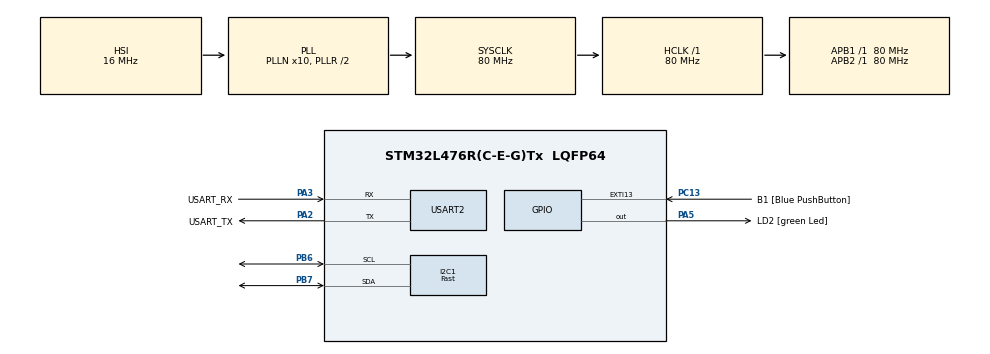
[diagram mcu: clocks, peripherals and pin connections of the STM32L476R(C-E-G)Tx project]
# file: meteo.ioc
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FREERTOS.Tasks01=defaultTask,0,128,StartDefaultTask,Default,NULL
FREERTOS.configTOTAL_HEAP_SIZE=8000
FREERTOS.configUSE_TIMERS=1
I2C1.I2C_Speed_Mode=I2C_Fast
I2C1.Timing=0x00702991
Mcu.Family=STM32L4
Mcu.Name=STM32L476R(C-E-G)Tx
Mcu.Package=LQFP64
NVIC.PriorityGroup=NVIC_PRIORITYGROUP_4
NVIC.TIM1_UP_TIM16_IRQn=true\:0\:0\:false\:false\:true\:false\:false
NVIC.TimeBase=TIM1_UP_TIM16_IRQn
NVIC.TimeBaseIP=TIM1
PA13\ (JTMS-SWDIO).GPIO_Label=TMS
PA13\ (JTMS-SWDIO).Signal=SYS_JTMS-SWDIO
PA14\ (JTCK-SWCLK).GPIO_Label=TCK
PA14\ (JTCK-SWCLK).Signal=SYS_JTCK-SWCLK
PA2.GPIO_Label=USART_TX
PA2.GPIO_Mode=GPIO_MODE_AF_PP
PA2.GPIO_PuPd=GPIO_NOPULL
PA2.GPIO_Speed=GPIO_SPEED_FREQ_VERY_HIGH
PA2.Mode=Asynchronous
PA2.Signal=USART2_TX
PA3.GPIO_Label=USART_RX
PA3.GPIO_Mode=GPIO_MODE_AF_PP
PA3.GPIO_PuPd=GPIO_NOPULL
PA3.GPIO_Speed=GPIO_SPEED_FREQ_VERY_HIGH
PA3.Mode=Asynchronous
PA3.Signal=USART2_RX
PA5.GPIO_Label=LD2 [green Led]
PA5.GPIO_ModeDefaultOutputPP=GPIO_MODE_OUTPUT_PP
PA5.GPIO_PuPd=GPIO_NOPULL
PA5.GPIO_Speed=GPIO_SPEED_FREQ_LOW
PA5.Signal=GPIO_Output
PB3\ (JTDO-TRACESWO).GPIO_Label=SWO
PB3\ (JTDO-TRACESWO).Signal=SYS_JTDO-SWO
PB6.Mode=I2C
PB6.Signal=I2C1_SCL
PB7.Mode=I2C
PB7.Signal=I2C1_SDA
PC13.GPIO_Label=B1 [Blue PushButton]
PC13.GPIO_ModeDefaultEXTI=GPIO_MODE_IT_FALLING
PC13.GPIO_PuPd=GPIO_NOPULL
PC13.Signal=GPXTI13
PC14-OSC32_IN\ (PC14).Signal=RCC_OSC32_IN
PC15-OSC32_OUT\ (PC15).Signal=RCC_OSC32_OUT
PH0-OSC_IN\ (PH0).Signal=RCC_OSC_IN
PH1-OSC_OUT\ (PH1).Signal=RCC_OSC_OUT
ProjectManager.HeapSize=0x200
ProjectManager.StackSize=0x400
ProjectManager.TargetToolchain=SW4STM32
RCC.ADCFreq_Value=64000000
RCC.AHBFreq_Value=80000000
RCC.APB1Freq_Value=80000000
RCC.APB1TimFreq_Value=80000000
RCC.APB2Freq_Value=80000000
RCC.APB2TimFreq_Value=80000000
RCC.CortexFreq_Value=80000000
RCC.HCLKFreq_Value=80000000
RCC.HSE_VALUE=8000000
RCC.HSI_VALUE=16000000
RCC.LSE_VALUE=32768
RCC.MSI_VALUE=4000000
RCC.PLLN=10
RCC.PLLSourceVirtual=RCC_PLLSOURCE_HSI
RCC.PREFETCH_ENABLE=1
RCC.SYSCLKFreq_VALUE=80000000
RCC.SYSCLKSource=RCC_SYSCLKSOURCE_PLLCLK
RCC.USBFreq_Value=64000000
RCC.VCOOutputFreq_Value=160000000
USART2.VirtualMode-Asynchronous=VM_ASYNC
USART2.WordLength=WORDLENGTH_8B
VP_FREERTOS_VS_ENABLE.Mode=Enabled
VP_SYS_VS_tim1.Mode=TIM1
board=NUCLEO-L476RG

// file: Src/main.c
/**
  ******************************************************************************
  * File Name          : main.c
  * Description        : Main program body
  ******************************************************************************
  * This notice applies to any and all portions of this file
  * that are not between comment pairs USER CODE BEGIN and
  * USER CODE END. Other portions of this file, whether
  * inserted by the user or by software development tools
  * are owned by their respective copyright owners.
  *
  * Copyright (c) 2017 STMicroelectronics International N.V.
  * All rights reserved.
  *
  * Redistribution and use in source and binary forms, with or without
  * modification, are permitted, provided that the following conditions are met:
  *
  * 1. Redistribution of source code must retain the above copyright notice,
  *    this list of conditions and the following disclaimer.
  * 2. Redistributions in binary form must reproduce the above copyright notice,
  *    this list of conditions and the following disclaimer in the documentation
  *    and/or other materials provided with the distribution.
  * 3. Neither the name of STMicroelectronics nor the names of other
  *    contributors to this software may be used to endorse or promote products
  *    derived from this software without specific written permission.
  * 4. This software, including modifications and/or derivative works of this
  *    software, must execute solely and exclusively on microcontroller or
  *    microprocessor devices manufactured by or for STMicroelectronics.
  * 5. Redistribution and use of this software other than as permitted under
  *    this license is void and will automatically terminate your rights under
  *    this license.
  *
  * THIS SOFTWARE IS PROVIDED BY STMICROELECTRONICS AND CONTRIBUTORS "AS IS"
  * AND ANY EXPRESS, IMPLIED OR STATUTORY WARRANTIES, INCLUDING, BUT NOT
  * LIMITED TO, THE IMPLIED WARRANTIES OF MERCHANTABILITY, FITNESS FOR A
  * PARTICULAR PURPOSE AND NON-INFRINGEMENT OF THIRD PARTY INTELLECTUAL PROPERTY
  * RIGHTS ARE DISCLAIMED TO THE FULLEST EXTENT PERMITTED BY LAW. IN NO EVENT
  * SHALL STMICROELECTRONICS OR CONTRIBUTORS BE LIABLE FOR ANY DIRECT, INDIRECT,
  * INCIDENTAL, SPECIAL, EXEMPLARY, OR CONSEQUENTIAL DAMAGES (INCLUDING, BUT NOT
  * LIMITED TO, PROCUREMENT OF SUBSTITUTE GOODS OR SERVICES; LOSS OF USE, DATA,
  * OR PROFITS; OR BUSINESS INTERRUPTION) HOWEVER CAUSED AND ON ANY THEORY OF
  * LIABILITY, WHETHER IN CONTRACT, STRICT LIABILITY, OR TORT (INCLUDING
  * NEGLIGENCE OR OTHERWISE) ARISING IN ANY WAY OUT OF THE USE OF THIS SOFTWARE,
  * EVEN IF ADVISED OF THE POSSIBILITY OF SUCH DAMAGE.
  *
  ******************************************************************************
  */
#include "main.h"
#include "stm32l4xx_hal.h"
#include "cmsis_os.h"
#include "i2c.h"
#include "usart.h"
#include "gpio.h"

/* USER CODE BEGIN PV */
/* Private variables ---------------------------------------------------------*/
#define MAX_BUF_SIZE 256

typedef struct displayFloatToInt_s {
  int8_t sign; /* 0 means positive, 1 means negative*/
  uint32_t  out_int;
  uint32_t  out_dec;
} displayFloatToInt_t;
static char dataOut[MAX_BUF_SIZE];

static void *HTS221_H_0_handle  = NULL;
static void *HTS221_T_0_handle  = NULL;
static void *LPS22HB_P_0_handle  = NULL;
static void *LPS22HB_T_0_handle  = NULL;
/* USER CODE END PV */

void SystemClock_Config(void);
void MX_FREERTOS_Init(void);

static void initializeAllSensors( void );
static void floatToInt(float in, displayFloatToInt_t *out_value, int32_t dec_prec);
static void RTC_Handler( void );
static void Humidity_Sensor_Handler( void *handle );
static void Temperature_Sensor_Handler( void *handle );
static void Pressure_Sensor_Handler( void *handle );

/* USER CODE BEGIN PFP */
/* Private function prototypes -----------------------------------------------*/

static void initializeAllSensors( void );

static void floatToInt(float in, displayFloatToInt_t *out_value, int32_t dec_prec);

static void Humidity_Sensor_Handler( void *handle );
static void Temperature_Sensor_Handler( void *handle );
static void Pressure_Sensor_Handler( void *handle );
/* USER CODE END PFP */

int main(void)
{

  /* MCU Configuration----------------------------------------------------------*/

  /* Reset of all peripherals, Initializes the Flash interface and the Systick. */
  HAL_Init();

  /* Configure the system clock */
  SystemClock_Config();

  /* Initialize all configured peripherals */
  MX_GPIO_Init();
  MX_I2C1_Init();
  MX_USART2_UART_Init();

  /* Call init function for freertos objects (in freertos.c) */
  MX_FREERTOS_Init();

  /* Start scheduler */
  osKernelStart();

  /* We should never get here as control is now taken by the scheduler */

  /* Infinite loop */
  while (1)
  {

  /* USER CODE BEGIN 3 */

  }
  RTC_Handler();
  Humidity_Sensor_Handler( HTS221_H_0_handle );
  Temperature_Sensor_Handler( HTS221_T_0_handle );
  Temperature_Sensor_Handler( LPS22HB_T_0_handle );
  Pressure_Sensor_Handler( LPS22HB_P_0_handle );
  /* USER CODE END 3 */

}

/** System Clock Configuration
*/
void SystemClock_Config(void)
{

  RCC_OscInitTypeDef RCC_OscInitStruct;
  RCC_ClkInitTypeDef RCC_ClkInitStruct;
  RCC_PeriphCLKInitTypeDef PeriphClkInit;

    /**Initializes the CPU, AHB and APB busses clocks
    */
  RCC_OscInitStruct.OscillatorType = RCC_OSCILLATORTYPE_HSI;
  RCC_OscInitStruct.HSIState = RCC_HSI_ON;
  RCC_OscInitStruct.HSICalibrationValue = 16;
  RCC_OscInitStruct.PLL.PLLState = RCC_PLL_ON;
  RCC_OscInitStruct.PLL.PLLSource = RCC_PLLSOURCE_HSI;
  RCC_OscInitStruct.PLL.PLLN = 10;
  RCC_OscInitStruct.PLL.PLLP = RCC_PLLP_DIV7;
  RCC_OscInitStruct.PLL.PLLQ = RCC_PLLQ_DIV2;
  RCC_OscInitStruct.PLL.PLLR = RCC_PLLR_DIV2;
  if (HAL_RCC_OscConfig(&RCC_OscInitStruct) != HAL_OK)
  {
    _Error_Handler(__FILE__, __LINE__);
  }

    /**Initializes the CPU, AHB and APB busses clocks
    */
  RCC_ClkInitStruct.ClockType = RCC_CLOCKTYPE_HCLK|RCC_CLOCKTYPE_SYSCLK
                              |RCC_CLOCKTYPE_PCLK1|RCC_CLOCKTYPE_PCLK2;
  RCC_ClkInitStruct.SYSCLKSource = RCC_SYSCLKSOURCE_PLLCLK;
  RCC_ClkInitStruct.AHBCLKDivider = RCC_SYSCLK_DIV1;
  RCC_ClkInitStruct.APB1CLKDivider = RCC_HCLK_DIV1;
  RCC_ClkInitStruct.APB2CLKDivider = RCC_HCLK_DIV1;

  if (HAL_RCC_ClockConfig(&RCC_ClkInitStruct, FLASH_LATENCY_3) != HAL_OK)
  {
    _Error_Handler(__FILE__, __LINE__);
  }

  PeriphClkInit.PeriphClockSelection = RCC_PERIPHCLK_USART2|RCC_PERIPHCLK_I2C1;
  PeriphClkInit.Usart2ClockSelection = RCC_USART2CLKSOURCE_PCLK1;
  PeriphClkInit.I2c1ClockSelection = RCC_I2C1CLKSOURCE_PCLK1;
  if (HAL_RCCEx_PeriphCLKConfig(&PeriphClkInit) != HAL_OK)
  {
    _Error_Handler(__FILE__, __LINE__);
  }

    /**Configure the main internal regulator output voltage
    */
  if (HAL_PWREx_ControlVoltageScaling(PWR_REGULATOR_VOLTAGE_SCALE1) != HAL_OK)
  {
    _Error_Handler(__FILE__, __LINE__);
  }

    /**Configure the Systick interrupt time
    */
  HAL_SYSTICK_Config(HAL_RCC_GetHCLKFreq()/1000);

    /**Configure the Systick
    */
  HAL_SYSTICK_CLKSourceConfig(SYSTICK_CLKSOURCE_HCLK);

  /* SysTick_IRQn interrupt configuration */
  HAL_NVIC_SetPriority(SysTick_IRQn, 15, 0);
}

void HAL_TIM_PeriodElapsedCallback(TIM_HandleTypeDef *htim)
{
  if (htim->Instance == TIM1) {
    HAL_IncTick();
  }
}

void _Error_Handler(char * file, int line)
{
  while(1)
  {
  }
}

/************************ (C) COPYRIGHT STMicroelectronics *****END OF FILE****/

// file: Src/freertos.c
/**
  ******************************************************************************
  * File Name          : freertos.c
  * Description        : Code for freertos applications
  ******************************************************************************
  * This notice applies to any and all portions of this file
  * that are not between comment pairs USER CODE BEGIN and
  * USER CODE END. Other portions of this file, whether
  * inserted by the user or by software development tools
  * are owned by their respective copyright owners.
  *
  * Copyright (c) 2017 STMicroelectronics International N.V.
  * All rights reserved.
  *
  * Redistribution and use in source and binary forms, with or without
  * modification, are permitted, provided that the following conditions are met:
  *
  * 1. Redistribution of source code must retain the above copyright notice,
  *    this list of conditions and the following disclaimer.
  * 2. Redistributions in binary form must reproduce the above copyright notice,
  *    this list of conditions and the following disclaimer in the documentation
  *    and/or other materials provided with the distribution.
  * 3. Neither the name of STMicroelectronics nor the names of other
  *    contributors to this software may be used to endorse or promote products
  *    derived from this software without specific written permission.
  * 4. This software, including modifications and/or derivative works of this
  *    software, must execute solely and exclusively on microcontroller or
  *    microprocessor devices manufactured by or for STMicroelectronics.
  * 5. Redistribution and use of this software other than as permitted under
  *    this license is void and will automatically terminate your rights under
  *    this license.
  *
  * THIS SOFTWARE IS PROVIDED BY STMICROELECTRONICS AND CONTRIBUTORS "AS IS"
  * AND ANY EXPRESS, IMPLIED OR STATUTORY WARRANTIES, INCLUDING, BUT NOT
  * LIMITED TO, THE IMPLIED WARRANTIES OF MERCHANTABILITY, FITNESS FOR A
  * PARTICULAR PURPOSE AND NON-INFRINGEMENT OF THIRD PARTY INTELLECTUAL PROPERTY
  * RIGHTS ARE DISCLAIMED TO THE FULLEST EXTENT PERMITTED BY LAW. IN NO EVENT
  * SHALL STMICROELECTRONICS OR CONTRIBUTORS BE LIABLE FOR ANY DIRECT, INDIRECT,
  * INCIDENTAL, SPECIAL, EXEMPLARY, OR CONSEQUENTIAL DAMAGES (INCLUDING, BUT NOT
  * LIMITED TO, PROCUREMENT OF SUBSTITUTE GOODS OR SERVICES; LOSS OF USE, DATA,
  * OR PROFITS; OR BUSINESS INTERRUPTION) HOWEVER CAUSED AND ON ANY THEORY OF
  * LIABILITY, WHETHER IN CONTRACT, STRICT LIABILITY, OR TORT (INCLUDING
  * NEGLIGENCE OR OTHERWISE) ARISING IN ANY WAY OUT OF THE USE OF THIS SOFTWARE,
  * EVEN IF ADVISED OF THE POSSIBILITY OF SUCH DAMAGE.
  *
  ******************************************************************************
  */

#include "FreeRTOS.h"
#include "task.h"
#include "cmsis_os.h"

osThreadId defaultTaskHandle;

void StartDefaultTask(void const * argument);

void MX_FREERTOS_Init(void); /* (MISRA C 2004 rule 8.1) */

/* Hook prototypes */

/* Init FreeRTOS */

void MX_FREERTOS_Init(void) {

  /* Create the thread(s) */
  /* definition and creation of defaultTask */
  osThreadDef(defaultTask, StartDefaultTask, osPriorityNormal, 0, 128);
  defaultTaskHandle = osThreadCreate(osThread(defaultTask), NULL);

}

/* StartDefaultTask function */
void StartDefaultTask(void const * argument)
{

  for(;;)
  {
    osDelay(1);
  }
}

/************************ (C) COPYRIGHT STMicroelectronics *****END OF FILE****/
